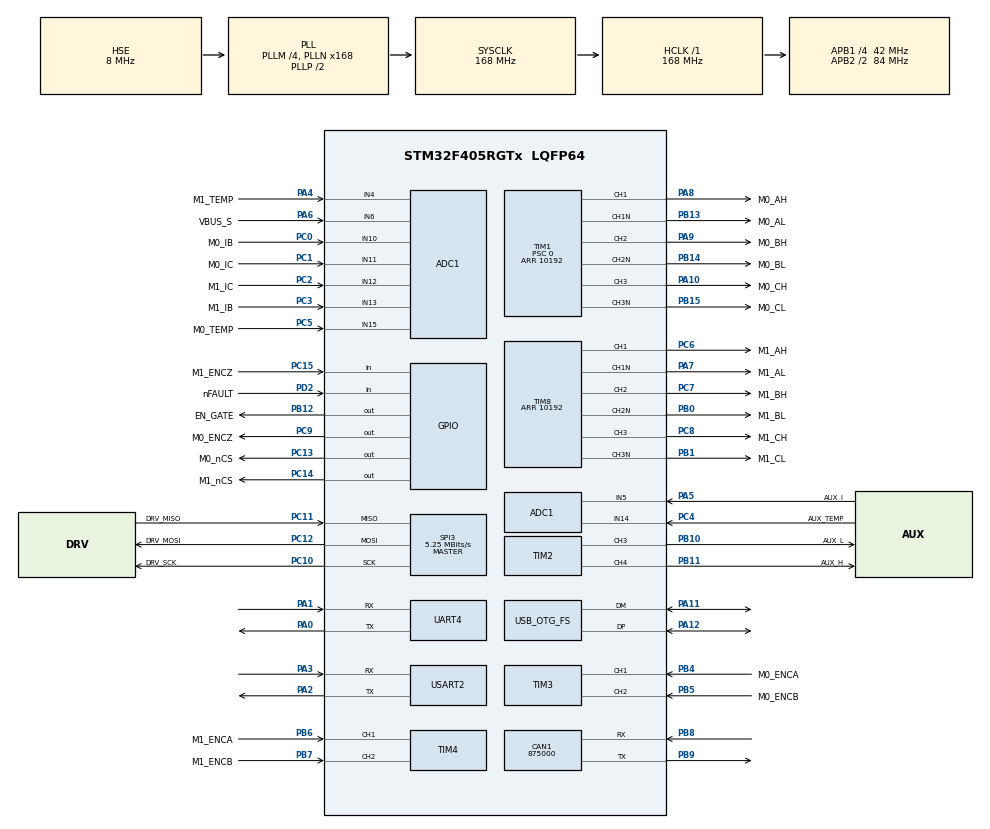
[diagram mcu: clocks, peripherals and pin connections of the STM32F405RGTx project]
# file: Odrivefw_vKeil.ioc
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ADC1.Channel-0\#ChannelRegularConversion=ADC_CHANNEL_6
ADC1.Channel-1\#ChannelInjectedConversion=ADC_CHANNEL_6
ADC1.ExternalTrigInjecConv=ADC_EXTERNALTRIGINJECCONV_T1_TRGO
ADC1.InjNumberOfConversion=1
ADC1.InjectedOffset-1\#ChannelInjectedConversion=0
ADC1.InjectedRank-1\#ChannelInjectedConversion=1
ADC1.NbrOfConversionFlag=1
ADC1.Rank-0\#ChannelRegularConversion=1
ADC1.SamplingTime-0\#ChannelRegularConversion=ADC_SAMPLETIME_3CYCLES
ADC1.SamplingTime-1\#ChannelInjectedConversion=ADC_SAMPLETIME_3CYCLES
ADC1.master=1
ADC2.Channel-0\#ChannelRegularConversion=ADC_CHANNEL_13
ADC2.Channel-1\#ChannelInjectedConversion=ADC_CHANNEL_10
ADC2.EnableAnalogWatchDog=false
ADC2.ExternalTrigConv=ADC_EXTERNALTRIGCONV_T8_TRGO
ADC2.ExternalTrigInjecConv=ADC_EXTERNALTRIGINJECCONV_T1_TRGO
ADC2.InjNumberOfConversion=1
ADC2.InjectedOffset-1\#ChannelInjectedConversion=0
ADC2.InjectedRank-1\#ChannelInjectedConversion=1
ADC2.NbrOfConversionFlag=1
ADC2.Rank-0\#ChannelRegularConversion=1
ADC2.SamplingTime-0\#ChannelRegularConversion=ADC_SAMPLETIME_3CYCLES
ADC2.SamplingTime-1\#ChannelInjectedConversion=ADC_SAMPLETIME_3CYCLES
ADC3.Channel-0\#ChannelRegularConversion=ADC_CHANNEL_12
ADC3.Channel-1\#ChannelInjectedConversion=ADC_CHANNEL_11
ADC3.ExternalTrigConv=ADC_EXTERNALTRIGCONV_T8_TRGO
ADC3.ExternalTrigInjecConv=ADC_EXTERNALTRIGINJECCONV_T1_TRGO
ADC3.InjNumberOfConversion=1
ADC3.InjectedOffset-1\#ChannelInjectedConversion=0
ADC3.InjectedRank-1\#ChannelInjectedConversion=1
ADC3.NbrOfConversion=1
ADC3.NbrOfConversionFlag=1
ADC3.Rank-0\#ChannelRegularConversion=1
ADC3.SamplingTime-0\#ChannelRegularConversion=ADC_SAMPLETIME_3CYCLES
ADC3.SamplingTime-1\#ChannelInjectedConversion=ADC_SAMPLETIME_3CYCLES
CAN1.CalculateBaudRate=875000
CAN1.CalculateTimeBit=1142
CAN1.CalculateTimeQuantum=380.95238095238096
Dma.Request0=UART4_RX
Dma.Request1=UART4_TX
Dma.Request2=USART2_RX
Dma.Request3=USART2_TX
Dma.UART4_RX.0.Direction=DMA_PERIPH_TO_MEMORY
Dma.UART4_RX.0.FIFOMode=DMA_FIFOMODE_DISABLE
Dma.UART4_RX.0.Instance=DMA1_Stream2
Dma.UART4_RX.0.MemDataAlignment=DMA_MDATAALIGN_BYTE
Dma.UART4_RX.0.MemInc=DMA_MINC_ENABLE
Dma.UART4_RX.0.Mode=DMA_NORMAL
Dma.UART4_RX.0.PeriphDataAlignment=DMA_PDATAALIGN_BYTE
Dma.UART4_RX.0.PeriphInc=DMA_PINC_DISABLE
Dma.UART4_RX.0.Priority=DMA_PRIORITY_LOW
Dma.UART4_TX.1.Direction=DMA_MEMORY_TO_PERIPH
Dma.UART4_TX.1.FIFOMode=DMA_FIFOMODE_DISABLE
Dma.UART4_TX.1.Instance=DMA1_Stream4
Dma.UART4_TX.1.MemDataAlignment=DMA_MDATAALIGN_BYTE
Dma.UART4_TX.1.MemInc=DMA_MINC_ENABLE
Dma.UART4_TX.1.Mode=DMA_NORMAL
Dma.UART4_TX.1.PeriphDataAlignment=DMA_PDATAALIGN_BYTE
Dma.UART4_TX.1.PeriphInc=DMA_PINC_DISABLE
Dma.UART4_TX.1.Priority=DMA_PRIORITY_LOW
Dma.USART2_RX.2.Direction=DMA_PERIPH_TO_MEMORY
Dma.USART2_RX.2.FIFOMode=DMA_FIFOMODE_DISABLE
Dma.USART2_RX.2.Instance=DMA1_Stream5
Dma.USART2_RX.2.MemDataAlignment=DMA_MDATAALIGN_BYTE
Dma.USART2_RX.2.MemInc=DMA_MINC_ENABLE
Dma.USART2_RX.2.Mode=DMA_NORMAL
Dma.USART2_RX.2.PeriphDataAlignment=DMA_PDATAALIGN_BYTE
Dma.USART2_RX.2.PeriphInc=DMA_PINC_DISABLE
Dma.USART2_RX.2.Priority=DMA_PRIORITY_LOW
Dma.USART2_TX.3.Direction=DMA_MEMORY_TO_PERIPH
Dma.USART2_TX.3.FIFOMode=DMA_FIFOMODE_DISABLE
Dma.USART2_TX.3.Instance=DMA1_Stream6
Dma.USART2_TX.3.MemDataAlignment=DMA_MDATAALIGN_BYTE
Dma.USART2_TX.3.MemInc=DMA_MINC_ENABLE
Dma.USART2_TX.3.Mode=DMA_NORMAL
Dma.USART2_TX.3.PeriphDataAlignment=DMA_PDATAALIGN_BYTE
Dma.USART2_TX.3.PeriphInc=DMA_PINC_DISABLE
Dma.USART2_TX.3.Priority=DMA_PRIORITY_LOW
FREERTOS.Tasks01=defaultTask,0,256,StartDefaultTask,Default,NULL,Dynamic,NULL,NULL
Mcu.Family=STM32F4
Mcu.Name=STM32F405RGTx
Mcu.Package=LQFP64
NVIC.ADC_IRQn=true\:5\:0\:false\:false\:true\:true\:true\:true\:true
NVIC.DMA1_Stream2_IRQn=true\:5\:0\:false\:false\:true\:true\:false\:true\:true
NVIC.DMA1_Stream4_IRQn=true\:5\:0\:false\:false\:true\:true\:false\:true\:true
NVIC.DMA1_Stream5_IRQn=true\:5\:0\:false\:false\:true\:true\:false\:true\:true
NVIC.DMA1_Stream6_IRQn=true\:5\:0\:false\:false\:true\:true\:false\:true\:true
NVIC.OTG_FS_IRQn=true\:5\:0\:false\:false\:true\:true\:false\:true\:true
NVIC.PriorityGroup=NVIC_PRIORITYGROUP_4
NVIC.USART2_IRQn=true\:5\:0\:false\:false\:true\:true\:true\:true\:true
PA0-WKUP.Mode=Asynchronous
PA0-WKUP.Signal=UART4_TX
PA1.Mode=Asynchronous
PA1.Signal=UART4_RX
PA10.GPIO_Label=M0_CH
PA10.Signal=S_TIM1_CH3
PA11.Mode=Device_Only
PA11.Signal=USB_OTG_FS_DM
PA12.Mode=Device_Only
PA12.Signal=USB_OTG_FS_DP
PA13.Mode=Serial_Wire
PA13.Signal=SYS_JTMS-SWDIO
PA14.Mode=Serial_Wire
PA14.Signal=SYS_JTCK-SWCLK
PA2.Mode=Asynchronous
PA2.Signal=USART2_TX
PA3.Mode=Asynchronous
PA3.Signal=USART2_RX
PA4.GPIO_Label=M1_TEMP
PA4.Signal=ADCx_IN4
PA5.GPIO_Label=AUX_I
PA5.Signal=ADCx_IN5
PA6.GPIO_Label=VBUS_S
PA6.Signal=ADCx_IN6
PA7.GPIO_Label=M1_AL
PA7.Mode=PWM Generation1 CH1 CH1N
PA7.Signal=TIM8_CH1N
PA8.GPIO_Label=M0_AH
PA8.Signal=S_TIM1_CH1
PA9.GPIO_Label=M0_BH
PA9.Signal=S_TIM1_CH2
PB0.GPIO_Label=M1_BL
PB0.Mode=PWM Generation2 CH2 CH2N
PB0.Signal=TIM8_CH2N
PB1.GPIO_Label=M1_CL
PB1.Mode=PWM Generation3 CH3 CH3N
PB1.Signal=TIM8_CH3N
PB10.GPIO_Label=AUX_L
PB10.Signal=S_TIM2_CH3
PB11.GPIO_Label=AUX_H
PB11.Signal=S_TIM2_CH4
PB12.GPIO_Label=EN_GATE
PB12.Signal=GPIO_Output
PB13.GPIO_Label=M0_AL
PB13.Mode=PWM Generation1 CH1 CH1N
PB13.Signal=TIM1_CH1N
PB14.GPIO_Label=M0_BL
PB14.Mode=PWM Generation2 CH2 CH2N
PB14.Signal=TIM1_CH2N
PB15.GPIO_Label=M0_CL
PB15.Mode=PWM Generation3 CH3 CH3N
PB15.Signal=TIM1_CH3N
PB4.GPIO_Label=M0_ENCA
PB4.Signal=S_TIM3_CH1
PB5.GPIO_Label=M0_ENCB
PB5.Signal=S_TIM3_CH2
PB6.GPIO_Label=M1_ENCA
PB6.Signal=S_TIM4_CH1
PB7.GPIO_Label=M1_ENCB
PB7.Signal=S_TIM4_CH2
PB8.Mode=CAN_Activate
PB8.Signal=CAN1_RX
PB9.Mode=CAN_Activate
PB9.Signal=CAN1_TX
PC0.GPIO_Label=M0_IB
PC0.Signal=ADCx_IN10
PC1.GPIO_Label=M0_IC
PC1.Signal=ADCx_IN11
PC10.GPIO_Label=DRV_SCK
PC10.Mode=Full_Duplex_Master
PC10.Signal=SPI3_SCK
PC11.GPIO_Label=DRV_MISO
PC11.Mode=Full_Duplex_Master
PC11.Signal=SPI3_MISO
PC12.GPIO_Label=DRV_MOSI
PC12.Mode=Full_Duplex_Master
PC12.Signal=SPI3_MOSI
PC13-ANTI_TAMP.GPIO_Label=M0_nCS
PC13-ANTI_TAMP.PinState=GPIO_PIN_SET
PC13-ANTI_TAMP.Signal=GPIO_Output
PC14-OSC32_IN.GPIO_Label=M1_nCS
PC14-OSC32_IN.PinState=GPIO_PIN_SET
PC14-OSC32_IN.Signal=GPIO_Output
PC15-OSC32_OUT.GPIO_Label=M1_ENCZ
PC15-OSC32_OUT.Signal=GPIO_Input
PC2.GPIO_Label=M1_IC
PC2.Signal=ADCx_IN12
PC3.GPIO_Label=M1_IB
PC3.Signal=ADCx_IN13
PC4.GPIO_Label=AUX_TEMP
PC4.Signal=ADCx_IN14
PC5.GPIO_Label=M0_TEMP
PC5.Signal=ADCx_IN15
PC6.GPIO_Label=M1_AH
PC6.Signal=S_TIM8_CH1
PC7.GPIO_Label=M1_BH
PC7.Signal=S_TIM8_CH2
PC8.GPIO_Label=M1_CH
PC8.Signal=S_TIM8_CH3
PC9.GPIO_Label=M0_ENCZ
PC9.Signal=GPIO_Output
PD2.GPIO_Label=nFAULT
PD2.GPIO_PuPd=GPIO_PULLUP
PD2.Signal=GPIO_Input
PH0-OSC_IN.Mode=HSE-External-Oscillator
PH0-OSC_IN.Signal=RCC_OSC_IN
PH1-OSC_OUT.Mode=HSE-External-Oscillator
PH1-OSC_OUT.Signal=RCC_OSC_OUT
ProjectManager.HeapSize=0x200
ProjectManager.StackSize=0x400
ProjectManager.TargetToolchain=MDK-ARM V5.32
RCC.48MHZClocksFreq_Value=48000000
RCC.AHBFreq_Value=168000000
RCC.APB1CLKDivider=RCC_HCLK_DIV4
RCC.APB1Freq_Value=42000000
RCC.APB1TimFreq_Value=84000000
RCC.APB2CLKDivider=RCC_HCLK_DIV2
RCC.APB2Freq_Value=84000000
RCC.APB2TimFreq_Value=168000000
RCC.CortexFreq_Value=168000000
RCC.HCLKFreq_Value=168000000
RCC.HSE_VALUE=8000000
RCC.HSI_VALUE=16000000
RCC.LSE_VALUE=32768
RCC.PLLM=4
RCC.PLLN=168
RCC.PLLQ=7
RCC.SYSCLKFreq_VALUE=168000000
RCC.SYSCLKSource=RCC_SYSCLKSOURCE_PLLCLK
RCC.VCOOutputFreq_Value=336000000
SH.ADCx_IN10.0=ADC1_IN10,IN10
SH.ADCx_IN10.1=ADC2_IN10,IN10
SH.ADCx_IN11.0=ADC1_IN11,IN11
SH.ADCx_IN11.1=ADC3_IN11,IN11
SH.ADCx_IN12.0=ADC1_IN12,IN12
SH.ADCx_IN12.1=ADC3_IN12,IN12
SH.ADCx_IN13.0=ADC1_IN13,IN13
SH.ADCx_IN13.1=ADC2_IN13,IN13
SH.ADCx_IN14.0=ADC1_IN14,IN14
SH.ADCx_IN15.0=ADC1_IN15,IN15
SH.ADCx_IN4.0=ADC1_IN4,IN4
SH.ADCx_IN5.0=ADC1_IN5,IN5
SH.ADCx_IN6.0=ADC1_IN6,IN6
SH.S_TIM1_CH1.0=TIM1_CH1,PWM Generation1 CH1 CH1N
SH.S_TIM1_CH2.0=TIM1_CH2,PWM Generation2 CH2 CH2N
SH.S_TIM1_CH3.0=TIM1_CH3,PWM Generation3 CH3 CH3N
SH.S_TIM2_CH3.0=TIM2_CH3,PWM Generation3 CH3
SH.S_TIM2_CH4.0=TIM2_CH4,Output Compare4 CH4
SH.S_TIM3_CH1.0=TIM3_CH1,Encoder_Interface
SH.S_TIM3_CH2.0=TIM3_CH2,Encoder_Interface
SH.S_TIM4_CH1.0=TIM4_CH1,Encoder_Interface
SH.S_TIM4_CH2.0=TIM4_CH2,Encoder_Interface
SH.S_TIM8_CH1.0=TIM8_CH1,PWM Generation1 CH1 CH1N
SH.S_TIM8_CH2.0=TIM8_CH2,PWM Generation2 CH2 CH2N
SH.S_TIM8_CH3.0=TIM8_CH3,PWM Generation3 CH3 CH3N
SPI3.BaudRatePrescaler=SPI_BAUDRATEPRESCALER_8
SPI3.CLKPhase=SPI_PHASE_2EDGE
SPI3.CalculateBaudRate=5.25 MBits/s
SPI3.DataSize=SPI_DATASIZE_16BIT
SPI3.Direction=SPI_DIRECTION_2LINES
SPI3.Mode=SPI_MODE_MASTER
SPI3.VirtualType=VM_MASTER
TIM1.Channel-PWM\ Generation1\ CH1\ CH1N=TIM_CHANNEL_1
TIM1.Channel-PWM\ Generation2\ CH2\ CH2N=TIM_CHANNEL_2
TIM1.Channel-PWM\ Generation3\ CH3\ CH3N=TIM_CHANNEL_3
TIM1.CounterMode=TIM_COUNTERMODE_CENTERALIGNED3
TIM1.DeadTime=20
TIM1.OCMode_PWM-PWM\ Generation1\ CH1\ CH1N=TIM_OCMODE_PWM2
TIM1.OCMode_PWM-PWM\ Generation2\ CH2\ CH2N=TIM_OCMODE_PWM2
TIM1.OCMode_PWM-PWM\ Generation3\ CH3\ CH3N=TIM_OCMODE_PWM2
TIM1.OffStateIDLEMode=TIM_OSSI_ENABLE
TIM1.OffStateRunMode=TIM_OSSR_ENABLE
TIM1.Period=10192
TIM1.Prescaler=0
TIM1.TIM_MasterOutputTrigger=TIM_TRGO_UPDATE
TIM1.TIM_MasterSlaveMode=TIM_MASTERSLAVEMODE_DISABLE
TIM14.Period=4096
TIM14.Prescaler=0
TIM2.Channel-Output\ Compare4\ CH4=TIM_CHANNEL_4
TIM2.Channel-PWM\ Generation3\ CH3=TIM_CHANNEL_3
TIM8.Channel-PWM\ Generation1\ CH1\ CH1N=TIM_CHANNEL_1
TIM8.Channel-PWM\ Generation2\ CH2\ CH2N=TIM_CHANNEL_2
TIM8.Channel-PWM\ Generation3\ CH3\ CH3N=TIM_CHANNEL_3
TIM8.CounterMode=TIM_COUNTERMODE_CENTERALIGNED3
TIM8.DeadTime=20
TIM8.OCMode_PWM-PWM\ Generation1\ CH1\ CH1N=TIM_OCMODE_PWM2
TIM8.OCMode_PWM-PWM\ Generation2\ CH2\ CH2N=TIM_OCMODE_PWM2
TIM8.OCMode_PWM-PWM\ Generation3\ CH3\ CH3N=TIM_OCMODE_PWM2
TIM8.OffStateIDLEMode=TIM_OSSI_ENABLE
TIM8.OffStateRunMode=TIM_OSSR_ENABLE
TIM8.Period=10192
TIM8.TIM_MasterOutputTrigger=TIM_TRGO_UPDATE
UART4.VirtualMode=Asynchronous
USART2.VirtualMode=VM_ASYNC
USB_DEVICE.CLASS_NAME_FS=CDC
USB_DEVICE.VirtualMode-CDC_FS=Cdc
USB_DEVICE.VirtualModeFS=Cdc_FS
USB_OTG_FS.VirtualMode=Device_Only
VP_FREERTOS_VS_CMSIS_V1.Mode=CMSIS_V1
VP_TIM14_VS_ClockSourceINT.Mode=Enable_Timer
VP_USB_DEVICE_VS_USB_DEVICE_CDC_FS.Mode=CDC_FS
board=custom

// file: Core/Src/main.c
/* USER CODE BEGIN Header */
/**
  ******************************************************************************
  * @file           : main.c
  * @brief          : Main program body
  ******************************************************************************
  * @attention
  *
  * Copyright (c) 2026 STMicroelectronics.
  * All rights reserved.
  *
  * This software is licensed under terms that can be found in the LICENSE file
  * in the root directory of this software component.
  * If no LICENSE file comes with this software, it is provided AS-IS.
  *
  ******************************************************************************
  */
/* USER CODE END Header */
#include "main.h"
#include "cmsis_os.h"
#include "usb_device.h"

/* USER CODE BEGIN Includes */
#include "freertos_vars.h"
#include "low_level.h"
#include "commands.h"
/* USER CODE END Includes */

ADC_HandleTypeDef hadc1;
ADC_HandleTypeDef hadc2;
ADC_HandleTypeDef hadc3;

CAN_HandleTypeDef hcan1;

SPI_HandleTypeDef hspi3;

TIM_HandleTypeDef htim1;
TIM_HandleTypeDef htim2;
TIM_HandleTypeDef htim3;
TIM_HandleTypeDef htim4;
TIM_HandleTypeDef htim8;
TIM_HandleTypeDef htim14;

UART_HandleTypeDef huart4;
UART_HandleTypeDef huart2;
DMA_HandleTypeDef hdma_uart4_rx;
DMA_HandleTypeDef hdma_uart4_tx;
DMA_HandleTypeDef hdma_usart2_rx;
DMA_HandleTypeDef hdma_usart2_tx;

osThreadId defaultTaskHandle;

void SystemClock_Config(void);
static void MX_GPIO_Init(void);
static void MX_DMA_Init(void);
static void MX_CAN1_Init(void);
static void MX_UART4_Init(void);
static void MX_USART2_UART_Init(void);
static void MX_ADC1_Init(void);
static void MX_SPI3_Init(void);
static void MX_TIM1_Init(void);
static void MX_TIM2_Init(void);
static void MX_TIM3_Init(void);
static void MX_TIM4_Init(void);
static void MX_TIM8_Init(void);
static void MX_TIM14_Init(void);
static void MX_ADC2_Init(void);
static void MX_ADC3_Init(void);
void StartDefaultTask(void const * argument);

/* USER CODE BEGIN 0 */

/* OC4 must be in PWM mode for TIM TRGO �? ADC to work.                         */
/* CubeMX does not support a channel-only PWM without an output pin, so we      */
/* configure it manually here.  Pulse = 1 (triggering fails if Pulse = 0).     */
void OC4_PWM_Override(TIM_HandleTypeDef *htim) {
    TIM_OC_InitTypeDef sConfigOC;
    sConfigOC.OCMode       = TIM_OCMODE_PWM2;
    sConfigOC.Pulse        = 1;
    sConfigOC.OCPolarity   = TIM_OCPOLARITY_HIGH;
    sConfigOC.OCNPolarity  = TIM_OCNPOLARITY_HIGH;
    sConfigOC.OCFastMode   = TIM_OCFAST_DISABLE;
    sConfigOC.OCIdleState  = TIM_OCIDLESTATE_RESET;
    sConfigOC.OCNIdleState = TIM_OCNIDLESTATE_RESET;
    HAL_TIM_OC_ConfigChannel(htim, &sConfigOC, TIM_CHANNEL_4);
}

/* USER CODE END 0 */

int main(void)
{

  /* MCU Configuration--------------------------------------------------------*/

  /* Reset of all peripherals, Initializes the Flash interface and the Systick. */
  HAL_Init();

  /* Configure the system clock */
  SystemClock_Config();

  /* Initialize all configured peripherals */
  MX_GPIO_Init();
  MX_DMA_Init();
  MX_CAN1_Init();
  MX_UART4_Init();
  MX_USART2_UART_Init();
  MX_ADC1_Init();
  MX_SPI3_Init();
  MX_TIM1_Init();
  MX_TIM2_Init();
  MX_TIM3_Init();
  MX_TIM4_Init();
  MX_TIM8_Init();
  MX_TIM14_Init();
  MX_ADC2_Init();
  MX_ADC3_Init();
  /* USER CODE BEGIN 2 */
  /* OC4 must be in PWM mode for TIM TRGO -> ADC triggering to work. */
  OC4_PWM_Override(&htim1);
  OC4_PWM_Override(&htim8);
  /* Enable USART2 RXNE interrupt so the ring-buffer IRQ handler fires. */
  __HAL_UART_ENABLE_IT(&huart2, UART_IT_RXNE);
  /* USER CODE END 2 */

  /* USER CODE BEGIN RTOS_SEMAPHORES */
  /* USB IRQ binary semaphore �? start with 0 tokens */
  osSemaphoreDef(sem_usb_irq);
  sem_usb_irq = osSemaphoreCreate(osSemaphore(sem_usb_irq), 1);
  osSemaphoreWait(sem_usb_irq, 0);

  /* USB RX semaphore */
  osSemaphoreDef(sem_usb_rx);
  sem_usb_rx = osSemaphoreCreate(osSemaphore(sem_usb_rx), 1);
  osSemaphoreWait(sem_usb_rx, 0);

  /* USB TX semaphore */
  osSemaphoreDef(sem_usb_tx);
  sem_usb_tx = osSemaphoreCreate(osSemaphore(sem_usb_tx), 1);
  /* USER CODE END RTOS_SEMAPHORES */

  /* Create the thread(s) */
  /* definition and creation of defaultTask */
  osThreadDef(defaultTask, StartDefaultTask, osPriorityNormal, 0, 256);
  defaultTaskHandle = osThreadCreate(osThread(defaultTask), NULL);

  /* Start scheduler */
  osKernelStart();

  /* We should never get here as control is now taken by the scheduler */
  /* Infinite loop */
  while (1)
  {

  }
}

void SystemClock_Config(void)
{
  RCC_OscInitTypeDef RCC_OscInitStruct = {0};
  RCC_ClkInitTypeDef RCC_ClkInitStruct = {0};

  /** Configure the main internal regulator output voltage
  */
  __HAL_RCC_PWR_CLK_ENABLE();
  __HAL_PWR_VOLTAGESCALING_CONFIG(PWR_REGULATOR_VOLTAGE_SCALE1);

  /** Initializes the RCC Oscillators according to the specified parameters
  * in the RCC_OscInitTypeDef structure.
  */
  RCC_OscInitStruct.OscillatorType = RCC_OSCILLATORTYPE_HSE;
  RCC_OscInitStruct.HSEState = RCC_HSE_ON;
  RCC_OscInitStruct.PLL.PLLState = RCC_PLL_ON;
  RCC_OscInitStruct.PLL.PLLSource = RCC_PLLSOURCE_HSE;
  RCC_OscInitStruct.PLL.PLLM = 4;
  RCC_OscInitStruct.PLL.PLLN = 168;
  RCC_OscInitStruct.PLL.PLLP = RCC_PLLP_DIV2;
  RCC_OscInitStruct.PLL.PLLQ = 7;
  if (HAL_RCC_OscConfig(&RCC_OscInitStruct) != HAL_OK)
  {
    Error_Handler();
  }

  /** Initializes the CPU, AHB and APB buses clocks
  */
  RCC_ClkInitStruct.ClockType = RCC_CLOCKTYPE_HCLK|RCC_CLOCKTYPE_SYSCLK
                              |RCC_CLOCKTYPE_PCLK1|RCC_CLOCKTYPE_PCLK2;
  RCC_ClkInitStruct.SYSCLKSource = RCC_SYSCLKSOURCE_PLLCLK;
  RCC_ClkInitStruct.AHBCLKDivider = RCC_SYSCLK_DIV1;
  RCC_ClkInitStruct.APB1CLKDivider = RCC_HCLK_DIV4;
  RCC_ClkInitStruct.APB2CLKDivider = RCC_HCLK_DIV2;

  if (HAL_RCC_ClockConfig(&RCC_ClkInitStruct, FLASH_LATENCY_5) != HAL_OK)
  {
    Error_Handler();
  }
}

static void MX_ADC1_Init(void)
{

  ADC_ChannelConfTypeDef sConfig = {0};
  ADC_InjectionConfTypeDef sConfigInjected = {0};

  /** Configure the global features of the ADC (Clock, Resolution, Data Alignment and number of conversion)
  */
  hadc1.Instance = ADC1;
  hadc1.Init.ClockPrescaler = ADC_CLOCK_SYNC_PCLK_DIV4;
  hadc1.Init.Resolution = ADC_RESOLUTION_12B;
  hadc1.Init.ScanConvMode = DISABLE;
  hadc1.Init.ContinuousConvMode = DISABLE;
  hadc1.Init.DiscontinuousConvMode = DISABLE;
  hadc1.Init.ExternalTrigConvEdge = ADC_EXTERNALTRIGCONVEDGE_NONE;
  hadc1.Init.ExternalTrigConv = ADC_SOFTWARE_START;
  hadc1.Init.DataAlign = ADC_DATAALIGN_RIGHT;
  hadc1.Init.NbrOfConversion = 1;
  hadc1.Init.DMAContinuousRequests = DISABLE;
  hadc1.Init.EOCSelection = ADC_EOC_SINGLE_CONV;
  if (HAL_ADC_Init(&hadc1) != HAL_OK)
  {
    Error_Handler();
  }

  /** Configure for the selected ADC regular channel its corresponding rank in the sequencer and its sample time.
  */
  sConfig.Channel = ADC_CHANNEL_6;
  sConfig.Rank = 1;
  sConfig.SamplingTime = ADC_SAMPLETIME_3CYCLES;
  if (HAL_ADC_ConfigChannel(&hadc1, &sConfig) != HAL_OK)
  {
    Error_Handler();
  }

  /** Configures for the selected ADC injected channel its corresponding rank in the sequencer and its sample time
  */
  sConfigInjected.InjectedChannel = ADC_CHANNEL_6;
  sConfigInjected.InjectedRank = 1;
  sConfigInjected.InjectedNbrOfConversion = 1;
  sConfigInjected.InjectedSamplingTime = ADC_SAMPLETIME_3CYCLES;
  sConfigInjected.ExternalTrigInjecConvEdge = ADC_EXTERNALTRIGINJECCONVEDGE_RISING;
  sConfigInjected.ExternalTrigInjecConv = ADC_EXTERNALTRIGINJECCONV_T1_TRGO;
  sConfigInjected.AutoInjectedConv = DISABLE;
  sConfigInjected.InjectedDiscontinuousConvMode = DISABLE;
  sConfigInjected.InjectedOffset = 0;
  if (HAL_ADCEx_InjectedConfigChannel(&hadc1, &sConfigInjected) != HAL_OK)
  {
    Error_Handler();
  }

}

static void MX_ADC2_Init(void)
{

  ADC_ChannelConfTypeDef sConfig = {0};
  ADC_InjectionConfTypeDef sConfigInjected = {0};

  /** Configure the global features of the ADC (Clock, Resolution, Data Alignment and number of conversion)
  */
  hadc2.Instance = ADC2;
  hadc2.Init.ClockPrescaler = ADC_CLOCK_SYNC_PCLK_DIV4;
  hadc2.Init.Resolution = ADC_RESOLUTION_12B;
  hadc2.Init.ScanConvMode = DISABLE;
  hadc2.Init.ContinuousConvMode = DISABLE;
  hadc2.Init.DiscontinuousConvMode = DISABLE;
  hadc2.Init.ExternalTrigConvEdge = ADC_EXTERNALTRIGCONVEDGE_RISING;
  hadc2.Init.ExternalTrigConv = ADC_EXTERNALTRIGCONV_T8_TRGO;
  hadc2.Init.DataAlign = ADC_DATAALIGN_RIGHT;
  hadc2.Init.NbrOfConversion = 1;
  hadc2.Init.DMAContinuousRequests = DISABLE;
  hadc2.Init.EOCSelection = ADC_EOC_SINGLE_CONV;
  if (HAL_ADC_Init(&hadc2) != HAL_OK)
  {
    Error_Handler();
  }

  /** Configure for the selected ADC regular channel its corresponding rank in the sequencer and its sample time.
  */
  sConfig.Channel = ADC_CHANNEL_13;
  sConfig.Rank = 1;
  sConfig.SamplingTime = ADC_SAMPLETIME_3CYCLES;
  if (HAL_ADC_ConfigChannel(&hadc2, &sConfig) != HAL_OK)
  {
    Error_Handler();
  }

  /** Configures for the selected ADC injected channel its corresponding rank in the sequencer and its sample time
  */
  sConfigInjected.InjectedChannel = ADC_CHANNEL_10;
  sConfigInjected.InjectedRank = 1;
  sConfigInjected.InjectedNbrOfConversion = 1;
  sConfigInjected.InjectedSamplingTime = ADC_SAMPLETIME_3CYCLES;
  sConfigInjected.ExternalTrigInjecConvEdge = ADC_EXTERNALTRIGINJECCONVEDGE_RISING;
  sConfigInjected.ExternalTrigInjecConv = ADC_EXTERNALTRIGINJECCONV_T1_TRGO;
  sConfigInjected.AutoInjectedConv = DISABLE;
  sConfigInjected.InjectedDiscontinuousConvMode = DISABLE;
  sConfigInjected.InjectedOffset = 0;
  if (HAL_ADCEx_InjectedConfigChannel(&hadc2, &sConfigInjected) != HAL_OK)
  {
    Error_Handler();
  }

}

static void MX_ADC3_Init(void)
{

  ADC_ChannelConfTypeDef sConfig = {0};
  ADC_InjectionConfTypeDef sConfigInjected = {0};

  /** Configure the global features of the ADC (Clock, Resolution, Data Alignment and number of conversion)
  */
  hadc3.Instance = ADC3;
  hadc3.Init.ClockPrescaler = ADC_CLOCK_SYNC_PCLK_DIV4;
  hadc3.Init.Resolution = ADC_RESOLUTION_12B;
  hadc3.Init.ScanConvMode = DISABLE;
  hadc3.Init.ContinuousConvMode = DISABLE;
  hadc3.Init.DiscontinuousConvMode = DISABLE;
  hadc3.Init.ExternalTrigConvEdge = ADC_EXTERNALTRIGCONVEDGE_RISING;
  hadc3.Init.ExternalTrigConv = ADC_EXTERNALTRIGCONV_T8_TRGO;
  hadc3.Init.DataAlign = ADC_DATAALIGN_RIGHT;
  hadc3.Init.NbrOfConversion = 1;
  hadc3.Init.DMAContinuousRequests = DISABLE;
  hadc3.Init.EOCSelection = ADC_EOC_SINGLE_CONV;
  if (HAL_ADC_Init(&hadc3) != HAL_OK)
  {
    Error_Handler();
  }

  /** Configure for the selected ADC regular channel its corresponding rank in the sequencer and its sample time.
  */
  sConfig.Channel = ADC_CHANNEL_12;
  sConfig.Rank = 1;
  sConfig.SamplingTime = ADC_SAMPLETIME_3CYCLES;
  if (HAL_ADC_ConfigChannel(&hadc3, &sConfig) != HAL_OK)
  {
    Error_Handler();
  }

  /** Configures for the selected ADC injected channel its corresponding rank in the sequencer and its sample time
  */
  sConfigInjected.InjectedChannel = ADC_CHANNEL_11;
  sConfigInjected.InjectedRank = 1;
  sConfigInjected.InjectedNbrOfConversion = 1;
  sConfigInjected.InjectedSamplingTime = ADC_SAMPLETIME_3CYCLES;
  sConfigInjected.ExternalTrigInjecConvEdge = ADC_EXTERNALTRIGINJECCONVEDGE_RISING;
  sConfigInjected.ExternalTrigInjecConv = ADC_EXTERNALTRIGINJECCONV_T1_TRGO;
  sConfigInjected.AutoInjectedConv = DISABLE;
  sConfigInjected.InjectedDiscontinuousConvMode = DISABLE;
  sConfigInjected.InjectedOffset = 0;
  if (HAL_ADCEx_InjectedConfigChannel(&hadc3, &sConfigInjected) != HAL_OK)
  {
    Error_Handler();
  }

}

static void MX_CAN1_Init(void)
{

  hcan1.Instance = CAN1;
  hcan1.Init.Prescaler = 16;
  hcan1.Init.Mode = CAN_MODE_NORMAL;
  hcan1.Init.SyncJumpWidth = CAN_SJW_1TQ;
  hcan1.Init.TimeSeg1 = CAN_BS1_1TQ;
  hcan1.Init.TimeSeg2 = CAN_BS2_1TQ;
  hcan1.Init.TimeTriggeredMode = DISABLE;
  hcan1.Init.AutoBusOff = DISABLE;
  hcan1.Init.AutoWakeUp = DISABLE;
  hcan1.Init.AutoRetransmission = DISABLE;
  hcan1.Init.ReceiveFifoLocked = DISABLE;
  hcan1.Init.TransmitFifoPriority = DISABLE;
  if (HAL_CAN_Init(&hcan1) != HAL_OK)
  {
    Error_Handler();
  }

}

static void MX_SPI3_Init(void)
{

  /* SPI3 parameter configuration*/
  hspi3.Instance = SPI3;
  hspi3.Init.Mode = SPI_MODE_MASTER;
  hspi3.Init.Direction = SPI_DIRECTION_2LINES;
  hspi3.Init.DataSize = SPI_DATASIZE_16BIT;
  hspi3.Init.CLKPolarity = SPI_POLARITY_LOW;
  hspi3.Init.CLKPhase = SPI_PHASE_2EDGE;
  hspi3.Init.NSS = SPI_NSS_SOFT;
  hspi3.Init.BaudRatePrescaler = SPI_BAUDRATEPRESCALER_8;
  hspi3.Init.FirstBit = SPI_FIRSTBIT_MSB;
  hspi3.Init.TIMode = SPI_TIMODE_DISABLE;
  hspi3.Init.CRCCalculation = SPI_CRCCALCULATION_DISABLE;
  hspi3.Init.CRCPolynomial = 10;
  if (HAL_SPI_Init(&hspi3) != HAL_OK)
  {
    Error_Handler();
  }

}

static void MX_TIM1_Init(void)
{

  TIM_MasterConfigTypeDef sMasterConfig = {0};
  TIM_OC_InitTypeDef sConfigOC = {0};
  TIM_BreakDeadTimeConfigTypeDef sBreakDeadTimeConfig = {0};

  htim1.Instance = TIM1;
  htim1.Init.Prescaler = 0;
  htim1.Init.CounterMode = TIM_COUNTERMODE_CENTERALIGNED3;
  htim1.Init.Period = 10192;
  htim1.Init.ClockDivision = TIM_CLOCKDIVISION_DIV1;
  htim1.Init.RepetitionCounter = 0;
  htim1.Init.AutoReloadPreload = TIM_AUTORELOAD_PRELOAD_DISABLE;
  if (HAL_TIM_PWM_Init(&htim1) != HAL_OK)
  {
    Error_Handler();
  }
  sMasterConfig.MasterOutputTrigger = TIM_TRGO_UPDATE;
  sMasterConfig.MasterSlaveMode = TIM_MASTERSLAVEMODE_DISABLE;
  if (HAL_TIMEx_MasterConfigSynchronization(&htim1, &sMasterConfig) != HAL_OK)
  {
    Error_Handler();
  }
  sConfigOC.OCMode = TIM_OCMODE_PWM2;
  sConfigOC.Pulse = 0;
  sConfigOC.OCPolarity = TIM_OCPOLARITY_HIGH;
  sConfigOC.OCNPolarity = TIM_OCNPOLARITY_HIGH;
  sConfigOC.OCFastMode = TIM_OCFAST_DISABLE;
  sConfigOC.OCIdleState = TIM_OCIDLESTATE_RESET;
  sConfigOC.OCNIdleState = TIM_OCNIDLESTATE_RESET;
  if (HAL_TIM_PWM_ConfigChannel(&htim1, &sConfigOC, TIM_CHANNEL_1) != HAL_OK)
  {
    Error_Handler();
  }
  if (HAL_TIM_PWM_ConfigChannel(&htim1, &sConfigOC, TIM_CHANNEL_2) != HAL_OK)
  {
    Error_Handler();
  }
  if (HAL_TIM_PWM_ConfigChannel(&htim1, &sConfigOC, TIM_CHANNEL_3) != HAL_OK)
  {
    Error_Handler();
  }
  sBreakDeadTimeConfig.OffStateRunMode = TIM_OSSR_ENABLE;
  sBreakDeadTimeConfig.OffStateIDLEMode = TIM_OSSI_ENABLE;
  sBreakDeadTimeConfig.LockLevel = TIM_LOCKLEVEL_OFF;
  sBreakDeadTimeConfig.DeadTime = 20;
  sBreakDeadTimeConfig.BreakState = TIM_BREAK_DISABLE;
  sBreakDeadTimeConfig.BreakPolarity = TIM_BREAKPOLARITY_HIGH;
  sBreakDeadTimeConfig.AutomaticOutput = TIM_AUTOMATICOUTPUT_DISABLE;
  if (HAL_TIMEx_ConfigBreakDeadTime(&htim1, &sBreakDeadTimeConfig) != HAL_OK)
  {
    Error_Handler();
  }
  HAL_TIM_MspPostInit(&htim1);

}

static void MX_TIM2_Init(void)
{

  TIM_MasterConfigTypeDef sMasterConfig = {0};
  TIM_OC_InitTypeDef sConfigOC = {0};

  htim2.Instance = TIM2;
  htim2.Init.Prescaler = 0;
  htim2.Init.CounterMode = TIM_COUNTERMODE_UP;
  htim2.Init.Period = 4294967295;
  htim2.Init.ClockDivision = TIM_CLOCKDIVISION_DIV1;
  htim2.Init.AutoReloadPreload = TIM_AUTORELOAD_PRELOAD_DISABLE;
  if (HAL_TIM_PWM_Init(&htim2) != HAL_OK)
  {
    Error_Handler();
  }
  if (HAL_TIM_OC_Init(&htim2) != HAL_OK)
  {
    Error_Handler();
  }
  sMasterConfig.MasterOutputTrigger = TIM_TRGO_RESET;
  sMasterConfig.MasterSlaveMode = TIM_MASTERSLAVEMODE_DISABLE;
  if (HAL_TIMEx_MasterConfigSynchronization(&htim2, &sMasterConfig) != HAL_OK)
  {
    Error_Handler();
  }
  sConfigOC.OCMode = TIM_OCMODE_PWM1;
  sConfigOC.Pulse = 0;
  sConfigOC.OCPolarity = TIM_OCPOLARITY_HIGH;
  sConfigOC.OCFastMode = TIM_OCFAST_DISABLE;
  if (HAL_TIM_PWM_ConfigChannel(&htim2, &sConfigOC, TIM_CHANNEL_3) != HAL_OK)
  {
    Error_Handler();
  }
  sConfigOC.OCMode = TIM_OCMODE_TIMING;
  if (HAL_TIM_OC_ConfigChannel(&htim2, &sConfigOC, TIM_CHANNEL_4) != HAL_OK)
  {
    Error_Handler();
  }
  HAL_TIM_MspPostInit(&htim2);

}

static void MX_TIM3_Init(void)
{

  TIM_Encoder_InitTypeDef sConfig = {0};
  TIM_MasterConfigTypeDef sMasterConfig = {0};

  htim3.Instance = TIM3;
  htim3.Init.Prescaler = 0;
  htim3.Init.CounterMode = TIM_COUNTERMODE_UP;
  htim3.Init.Period = 65535;
  htim3.Init.ClockDivision = TIM_CLOCKDIVISION_DIV1;
  htim3.Init.AutoReloadPreload = TIM_AUTORELOAD_PRELOAD_DISABLE;
  sConfig.EncoderMode = TIM_ENCODERMODE_TI1;
  sConfig.IC1Polarity = TIM_ICPOLARITY_RISING;
  sConfig.IC1Selection = TIM_ICSELECTION_DIRECTTI;
  sConfig.IC1Prescaler = TIM_ICPSC_DIV1;
  sConfig.IC1Filter = 0;
  sConfig.IC2Polarity = TIM_ICPOLARITY_RISING;
  sConfig.IC2Selection = TIM_ICSELECTION_DIRECTTI;
  sConfig.IC2Prescaler = TIM_ICPSC_DIV1;
  sConfig.IC2Filter = 0;
  if (HAL_TIM_Encoder_Init(&htim3, &sConfig) != HAL_OK)
  {
    Error_Handler();
  }
  sMasterConfig.MasterOutputTrigger = TIM_TRGO_RESET;
  sMasterConfig.MasterSlaveMode = TIM_MASTERSLAVEMODE_DISABLE;
  if (HAL_TIMEx_MasterConfigSynchronization(&htim3, &sMasterConfig) != HAL_OK)
  {
    Error_Handler();
  }

}

static void MX_TIM4_Init(void)
{

  TIM_Encoder_InitTypeDef sConfig = {0};
  TIM_MasterConfigTypeDef sMasterConfig = {0};

  htim4.Instance = TIM4;
  htim4.Init.Prescaler = 0;
  htim4.Init.CounterMode = TIM_COUNTERMODE_UP;
  htim4.Init.Period = 65535;
  htim4.Init.ClockDivision = TIM_CLOCKDIVISION_DIV1;
  htim4.Init.AutoReloadPreload = TIM_AUTORELOAD_PRELOAD_DISABLE;
  sConfig.EncoderMode = TIM_ENCODERMODE_TI1;
  sConfig.IC1Polarity = TIM_ICPOLARITY_RISING;
  sConfig.IC1Selection = TIM_ICSELECTION_DIRECTTI;
  sConfig.IC1Prescaler = TIM_ICPSC_DIV1;
  sConfig.IC1Filter = 0;
  sConfig.IC2Polarity = TIM_ICPOLARITY_RISING;
  sConfig.IC2Selection = TIM_ICSELECTION_DIRECTTI;
  sConfig.IC2Prescaler = TIM_ICPSC_DIV1;
  sConfig.IC2Filter = 0;
  if (HAL_TIM_Encoder_Init(&htim4, &sConfig) != HAL_OK)
  {
    Error_Handler();
  }
  sMasterConfig.MasterOutputTrigger = TIM_TRGO_RESET;
  sMasterConfig.MasterSlaveMode = TIM_MASTERSLAVEMODE_DISABLE;
  if (HAL_TIMEx_MasterConfigSynchronization(&htim4, &sMasterConfig) != HAL_OK)
  {
    Error_Handler();
  }

}

static void MX_TIM8_Init(void)
{

  TIM_MasterConfigTypeDef sMasterConfig = {0};
  TIM_OC_InitTypeDef sConfigOC = {0};
  TIM_BreakDeadTimeConfigTypeDef sBreakDeadTimeConfig = {0};

  htim8.Instance = TIM8;
  htim8.Init.Prescaler = 0;
  htim8.Init.CounterMode = TIM_COUNTERMODE_CENTERALIGNED3;
  htim8.Init.Period = 10192;
  htim8.Init.ClockDivision = TIM_CLOCKDIVISION_DIV1;
  htim8.Init.RepetitionCounter = 0;
  htim8.Init.AutoReloadPreload = TIM_AUTORELOAD_PRELOAD_DISABLE;
  if (HAL_TIM_PWM_Init(&htim8) != HAL_OK)
  {
    Error_Handler();
  }
  sMasterConfig.MasterOutputTrigger = TIM_TRGO_UPDATE;
  sMasterConfig.MasterSlaveMode = TIM_MASTERSLAVEMODE_DISABLE;
  if (HAL_TIMEx_MasterConfigSynchronization(&htim8, &sMasterConfig) != HAL_OK)
  {
    Error_Handler();
  }
  sConfigOC.OCMode = TIM_OCMODE_PWM2;
  sConfigOC.Pulse = 0;
  sConfigOC.OCPolarity = TIM_OCPOLARITY_HIGH;
  sConfigOC.OCNPolarity = TIM_OCNPOLARITY_HIGH;
  sConfigOC.OCFastMode = TIM_OCFAST_DISABLE;
  sConfigOC.OCIdleState = TIM_OCIDLESTATE_RESET;
  sConfigOC.OCNIdleState = TIM_OCNIDLESTATE_RESET;
  if (HAL_TIM_PWM_ConfigChannel(&htim8, &sConfigOC, TIM_CHANNEL_1) != HAL_OK)
  {
    Error_Handler();
  }
  if (HAL_TIM_PWM_ConfigChannel(&htim8, &sConfigOC, TIM_CHANNEL_2) != HAL_OK)
  {
    Error_Handler();
  }
  if (HAL_TIM_PWM_ConfigChannel(&htim8, &sConfigOC, TIM_CHANNEL_3) != HAL_OK)
  {
    Error_Handler();
  }
  sBreakDeadTimeConfig.OffStateRunMode = TIM_OSSR_ENABLE;
  sBreakDeadTimeConfig.OffStateIDLEMode = TIM_OSSI_ENABLE;
  sBreakDeadTimeConfig.LockLevel = TIM_LOCKLEVEL_OFF;
  sBreakDeadTimeConfig.DeadTime = 20;
  sBreakDeadTimeConfig.BreakState = TIM_BREAK_DISABLE;
  sBreakDeadTimeConfig.BreakPolarity = TIM_BREAKPOLARITY_HIGH;
  sBreakDeadTimeConfig.AutomaticOutput = TIM_AUTOMATICOUTPUT_DISABLE;
  if (HAL_TIMEx_ConfigBreakDeadTime(&htim8, &sBreakDeadTimeConfig) != HAL_OK)
  {
    Error_Handler();
  }
  HAL_TIM_MspPostInit(&htim8);

}

static void MX_TIM14_Init(void)
{

  htim14.Instance = TIM14;
  htim14.Init.Prescaler = 0;
  htim14.Init.CounterMode = TIM_COUNTERMODE_UP;
  htim14.Init.Period = 4096;
  htim14.Init.ClockDivision = TIM_CLOCKDIVISION_DIV1;
  htim14.Init.AutoReloadPreload = TIM_AUTORELOAD_PRELOAD_DISABLE;
  if (HAL_TIM_Base_Init(&htim14) != HAL_OK)
  {
    Error_Handler();
  }

}

static void MX_UART4_Init(void)
{

  huart4.Instance = UART4;
  huart4.Init.BaudRate = 115200;
  huart4.Init.WordLength = UART_WORDLENGTH_8B;
  huart4.Init.StopBits = UART_STOPBITS_1;
  huart4.Init.Parity = UART_PARITY_NONE;
  huart4.Init.Mode = UART_MODE_TX_RX;
  huart4.Init.HwFlowCtl = UART_HWCONTROL_NONE;
  huart4.Init.OverSampling = UART_OVERSAMPLING_16;
  if (HAL_UART_Init(&huart4) != HAL_OK)
  {
    Error_Handler();
  }

}

static void MX_USART2_UART_Init(void)
{

  huart2.Instance = USART2;
  huart2.Init.BaudRate = 115200;
  huart2.Init.WordLength = UART_WORDLENGTH_8B;
  huart2.Init.StopBits = UART_STOPBITS_1;
  huart2.Init.Parity = UART_PARITY_NONE;
  huart2.Init.Mode = UART_MODE_TX_RX;
  huart2.Init.HwFlowCtl = UART_HWCONTROL_NONE;
  huart2.Init.OverSampling = UART_OVERSAMPLING_16;
  if (HAL_UART_Init(&huart2) != HAL_OK)
  {
    Error_Handler();
  }

}

static void MX_DMA_Init(void)
{

  /* DMA controller clock enable */
  __HAL_RCC_DMA1_CLK_ENABLE();

  /* DMA interrupt init */
  /* DMA1_Stream2_IRQn interrupt configuration */
  HAL_NVIC_SetPriority(DMA1_Stream2_IRQn, 5, 0);
  HAL_NVIC_EnableIRQ(DMA1_Stream2_IRQn);
  /* DMA1_Stream4_IRQn interrupt configuration */
  HAL_NVIC_SetPriority(DMA1_Stream4_IRQn, 5, 0);
  HAL_NVIC_EnableIRQ(DMA1_Stream4_IRQn);
  /* DMA1_Stream5_IRQn interrupt configuration */
  HAL_NVIC_SetPriority(DMA1_Stream5_IRQn, 5, 0);
  HAL_NVIC_EnableIRQ(DMA1_Stream5_IRQn);
  /* DMA1_Stream6_IRQn interrupt configuration */
  HAL_NVIC_SetPriority(DMA1_Stream6_IRQn, 5, 0);
  HAL_NVIC_EnableIRQ(DMA1_Stream6_IRQn);

}

static void MX_GPIO_Init(void)
{
  GPIO_InitTypeDef GPIO_InitStruct = {0};

  /* GPIO Ports Clock Enable */
  __HAL_RCC_GPIOC_CLK_ENABLE();
  __HAL_RCC_GPIOH_CLK_ENABLE();
  __HAL_RCC_GPIOA_CLK_ENABLE();
  __HAL_RCC_GPIOB_CLK_ENABLE();
  __HAL_RCC_GPIOD_CLK_ENABLE();

  /*Configure GPIO pin Output Level */
  HAL_GPIO_WritePin(GPIOC, M0_nCS_Pin|M1_nCS_Pin, GPIO_PIN_SET);

  /*Configure GPIO pin Output Level */
  HAL_GPIO_WritePin(EN_GATE_GPIO_Port, EN_GATE_Pin, GPIO_PIN_RESET);

  /*Configure GPIO pin Output Level */
  HAL_GPIO_WritePin(M0_ENCZ_GPIO_Port, M0_ENCZ_Pin, GPIO_PIN_RESET);

  /*Configure GPIO pins : M0_nCS_Pin M1_nCS_Pin M0_ENCZ_Pin */
  GPIO_InitStruct.Pin = M0_nCS_Pin|M1_nCS_Pin|M0_ENCZ_Pin;
  GPIO_InitStruct.Mode = GPIO_MODE_OUTPUT_PP;
  GPIO_InitStruct.Pull = GPIO_NOPULL;
  GPIO_InitStruct.Speed = GPIO_SPEED_FREQ_LOW;
  HAL_GPIO_Init(GPIOC, &GPIO_InitStruct);

  /*Configure GPIO pin : M1_ENCZ_Pin */
  GPIO_InitStruct.Pin = M1_ENCZ_Pin;
  GPIO_InitStruct.Mode = GPIO_MODE_INPUT;
  GPIO_InitStruct.Pull = GPIO_NOPULL;
  HAL_GPIO_Init(M1_ENCZ_GPIO_Port, &GPIO_InitStruct);

  /*Configure GPIO pin : EN_GATE_Pin */
  GPIO_InitStruct.Pin = EN_GATE_Pin;
  GPIO_InitStruct.Mode = GPIO_MODE_OUTPUT_PP;
  GPIO_InitStruct.Pull = GPIO_NOPULL;
  GPIO_InitStruct.Speed = GPIO_SPEED_FREQ_LOW;
  HAL_GPIO_Init(EN_GATE_GPIO_Port, &GPIO_InitStruct);

  /*Configure GPIO pin : nFAULT_Pin */
  GPIO_InitStruct.Pin = nFAULT_Pin;
  GPIO_InitStruct.Mode = GPIO_MODE_INPUT;
  GPIO_InitStruct.Pull = GPIO_PULLUP;
  HAL_GPIO_Init(nFAULT_GPIO_Port, &GPIO_InitStruct);

}

void StartDefaultTask(void const * argument)
{
  /* init code for USB_DEVICE */
  MX_USB_DEVICE_Init();
  /* USER CODE BEGIN 5 */
  /* Init communications (USB CDC + UART4 packet protocol) */
  init_communication();

  /* Init motor control (DRV8301, ADC, PWM timers, Hall sensors) */
  init_motor_control();

  /* Motor threads �? high priority, one per axis */
  osThreadDef(task_motor_0, motor_thread, osPriorityRealtime, 0, 512);
  osThreadDef(task_motor_1, motor_thread, osPriorityHigh,     0, 512);
  thread_motor_0 = osThreadCreate(osThread(task_motor_0), &motors[0]);
  thread_motor_1 = osThreadCreate(osThread(task_motor_1), &motors[1]);

  /* Command-parse thread (USB + UART4 packet framing) */
  osThreadDef(task_cmd_parse, cmd_parse_thread, osPriorityNormal, 0, 512);
  thread_cmd_parse = osThreadCreate(osThread(task_cmd_parse), NULL);

  /* USB interrupt pump thread */
  osThreadDef(task_usb_pump, usb_update_thread, osPriorityNormal, 0, 512);
  thread_usb_pump = osThreadCreate(osThread(task_usb_pump), NULL);

  /* Packet timer thread */
  osThreadDef(task_packet_timer, packet_timer_thread, osPriorityBelowNormal, 0, 512);
  osThreadCreate(osThread(task_packet_timer), NULL);

  /* USART2 heartbeat + command RX (PA2=TX, PA3=RX, 115200 8N1) */
  osThreadDef(task_uart2_test, uart2_test_thread, osPriorityLow, 0, 512);
  osThreadCreate(osThread(task_uart2_test), NULL);

  /* Default task is done �? delete it */
  vTaskDelete(defaultTaskHandle);
  /* USER CODE END 5 */
}

void Error_Handler(void)
{
  __disable_irq();
  while (1)
  {
  }
}

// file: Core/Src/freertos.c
/* USER CODE BEGIN Header */
/**
  ******************************************************************************
  * File Name          : freertos.c
  * Description        : Code for freertos applications
  ******************************************************************************
  * @attention
  *
  * Copyright (c) 2026 STMicroelectronics.
  * All rights reserved.
  *
  * This software is licensed under terms that can be found in the LICENSE file
  * in the root directory of this software component.
  * If no LICENSE file comes with this software, it is provided AS-IS.
  *
  ******************************************************************************
  */
/* USER CODE END Header */

#include "FreeRTOS.h"
#include "task.h"
#include "main.h"

/* USER CODE BEGIN Includes */
#include "freertos_vars.h"
#include "low_level.h"
#include "commands.h"
#include <stdio.h>
#include <string.h>
/* USER CODE END Includes */

/* USER CODE BEGIN Variables */

/* ---- Semaphore handles (extern'd in freertos_vars.h) ---- */
osSemaphoreId sem_usb_irq;
osSemaphoreId sem_usb_rx;
osSemaphoreId sem_usb_tx;

/* ---- Motor / command task handles (extern'd in freertos_vars.h) ---- */
osThreadId thread_motor_0;
osThreadId thread_motor_1;
osThreadId thread_cmd_parse;
osThreadId thread_usb_pump;
osThreadId task_packet_timer;

/* USER CODE END Variables */

/* USER CODE BEGIN FunctionPrototypes */

void uart2_test_thread(void const *argument);

/* ---- Reporting rate parameters ---- */
/* 115200 baud: ~90-byte frame �?? 7.8 ms TX time.                         */
/* REPORT_MIN_MS caps Case-1 at �??100 Hz so UART is never overdriven.    */
#define REPORT_MIN_MS       10u   /* minimum gap between TX frames  [ms]  */
#define IDLE_THRESHOLD_MS  500u   /* no Hall edge �?? declare idle    [ms]  */
#define REPORT_IDLE_MS    1000u   /* Case-2 periodic interval       [ms]  */

/* USER CODE END FunctionPrototypes */

/* GetIdleTaskMemory prototype (linked to static allocation support) */
void vApplicationGetIdleTaskMemory( StaticTask_t **ppxIdleTaskTCBBuffer, StackType_t **ppxIdleTaskStackBuffer, uint32_t *pulIdleTaskStackSize );

/* USER CODE BEGIN GET_IDLE_TASK_MEMORY */
static StaticTask_t xIdleTaskTCBBuffer;
static StackType_t xIdleStack[configMINIMAL_STACK_SIZE];

void vApplicationGetIdleTaskMemory( StaticTask_t **ppxIdleTaskTCBBuffer, StackType_t **ppxIdleTaskStackBuffer, uint32_t *pulIdleTaskStackSize )
{
  *ppxIdleTaskTCBBuffer = &xIdleTaskTCBBuffer;
  *ppxIdleTaskStackBuffer = &xIdleStack[0];
  *pulIdleTaskStackSize = configMINIMAL_STACK_SIZE;
  /* place for user code */
}
/* USER CODE END GET_IDLE_TASK_MEMORY */

/* USER CODE BEGIN Application */

/**
 * vApplicationStackOverflowHook �?? called by FreeRTOS on stack overflow.
 * configCHECK_FOR_STACK_OVERFLOW must be 1 or 2 in FreeRTOSConfig.h.
 * Set a breakpoint here and inspect pcTaskName in the debugger.
 */
void vApplicationStackOverflowHook(TaskHandle_t xTask, char *pcTaskName) {
    (void)xTask;
    (void)pcTaskName;
    __disable_irq();
    for (;;) {}
}

/**
 * uart2_test_thread  �??  status TX + command RX on USART2
 * PA2=TX  PA3=RX  115200 8N1
 *
 * RX: interrupt-driven ring buffer (USART2_IRQHandler �?? uart2_rx_buf).
 *
 * TX modes:
 *   Case 1 �?? Motion: Hall edge on M0 or M1 �?? status frame,
 *             rate-capped at REPORT_MIN_MS (10 ms).
 *   Case 2 �?? Idle: no Hall change for IDLE_THRESHOLD_MS (500 ms) �??
 *             1 Hz periodic report.
 *
 * Frame format:
 *   $ST,<vb>,<f>,<M0h>,<M0c>,<M0v>,<M0i>,<M0e>,<M0s>,
 *            <M1h>,<M1c>,<M1v>,<M1i>,<M1e>,<M1s>;\r\n
 *
 *   vb   float  VBUS voltage [V]
 *   f    int    DRV8301 nFAULT (0=OK; M0 value used for shared pin)
 *   M#h  uint   Hall state (1-6 valid, 0/7 invalid)
 *   M#c  long   shadow_count (cumulative Hall edge count)
 *   M#v  float  mechanical velocity [rad/s]
 *   M#i  float  Iq_measured [A]
 *   M#e  int    error code  (0 = no error)
 *   M#s  uint   status: bit0=calibration_ok  bit1=enable_control
 */
void uart2_test_thread(void const *argument) {
    const char *banner =
        "\r\n[BOOT] ODrive 5065 USART2 115200 8N1\r\n"
        "[CMD]  $M0,Q,0;  $M0,V,3.6;  $M0,H,0;  $M0,E,0;\r\n"
        "[FMT]  $ST,vb,f,M0h,M0c,M0v,M0i,M0e,M0s,M1h,M1c,M1v,M1i,M1e,M1s;\r\n";
    HAL_UART_Transmit(&huart2, (uint8_t*)banner, strlen(banner), 200);

    uint8_t  last_hall0            = 0xFFu;
    uint8_t  last_hall1            = 0xFFu;
    char     rx_buf[64];
    int      rx_idx                = 0;
    bool     in_frame              = false;
    uint32_t last_tx_tick          = 0u;
    uint32_t last_hall_change_tick = 0u;

    for (;;) {
        /* ---- RX: drain ring buffer (filled by USART2_IRQHandler) ---- */
        while (uart2_rx_tail != uart2_rx_head) {
            uint8_t b = uart2_rx_buf[uart2_rx_tail];
            uart2_rx_tail = (uart2_rx_tail + 1U) % UART2_RX_BUF_SIZE;

            if (b == '$') { in_frame = true; rx_idx = 0; continue; }
            if (!in_frame) continue;

            if (b == ';') {
                rx_buf[rx_idx] = '\0';
                /* $M0,E,0 / $M1,E,0 �?? clear error and re-arm motor */
                if (rx_idx >= 5 && rx_buf[3] == 'E') {
                    unsigned midx = (rx_buf[1] == '1') ? 1u : 0u;
                    if (midx < num_motors) {
                        motors[midx].error          = ERROR_NO_ERROR;
                        motors[midx].calibration_ok = false;
                        motors[midx].do_calibration = false;
                        motors[midx].enable_control = true;
                        const char *ack = "[OK,err_cleared]\r\n";
                        HAL_UART_Transmit(&huart2, (uint8_t*)ack, strlen(ack), 50);
                    }
                } else {
                    /* Forward to standard command parser */
                    motor_parse_cmd((uint8_t*)rx_buf, rx_idx + 1, SERIAL_PRINTF_IS_UART2);
                }
                in_frame = false; rx_idx = 0;
            } else if (rx_idx < (int)sizeof(rx_buf) - 2) {
                rx_buf[rx_idx++] = (char)b;
            } else {
                in_frame = false; rx_idx = 0;  /* overflow: discard frame */
            }
        }

        /* ---- TX: status reporting ---- */
        uint32_t now   = osKernelSysTick();
        uint8_t  hall0 = read_hall_gpio_state(&motors[0].hall);
        uint8_t  hall1 = read_hall_gpio_state(&motors[1].hall);

        bool hall_changed = (hall0 != last_hall0) || (hall1 != last_hall1);
        if (hall_changed) {
            last_hall0 = hall0;
            last_hall1 = hall1;
            last_hall_change_tick = now;
        }

        bool     is_idle = (now - last_hall_change_tick) >= IDLE_THRESHOLD_MS;
        uint32_t elapsed = now - last_tx_tick;

        bool do_send = false;
        if (!is_idle) {
            if (hall_changed && elapsed >= REPORT_MIN_MS)
                do_send = true;
        } else {
            if (elapsed >= REPORT_IDLE_MS)
                do_send = true;
        }

        if (do_send) {
            last_tx_tick = now;
            char    buf[160];
            float   vel0 = get_pll_vel(&motors[0]);
            float   vel1 = get_pll_vel(&motors[1]);
            uint8_t st0  = (uint8_t)((motors[0].calibration_ok ? 1u : 0u) |
                                     (motors[0].enable_control  ? 2u : 0u));
            uint8_t st1  = (uint8_t)((motors[1].calibration_ok ? 1u : 0u) |
                                     (motors[1].enable_control  ? 2u : 0u));
            int len = snprintf(buf, sizeof(buf),
                "$ST,%.1f,%d,%u,%ld,%.1f,%.2f,%d,%u,%u,%ld,%.1f,%.2f,%d,%u;\r\n",
                vbus_voltage,
                (int)motors[0].drv_fault,
                (unsigned)hall0,
                (long)motors[0].hall.shadow_count,
                vel0,
                motors[0].current_control.Iq_measured,
                (int)motors[0].error,
                (unsigned)st0,
                (unsigned)hall1,
                (long)motors[1].hall.shadow_count,
                vel1,
                motors[1].current_control.Iq_measured,
                (int)motors[1].error,
                (unsigned)st1);
            if (len > 0 && len < (int)sizeof(buf))
                HAL_UART_Transmit(&huart2, (uint8_t*)buf, (uint16_t)len, 20);
        }

        osDelay(1);
    }
    vTaskDelete(NULL);
}

/* USER CODE END Application */
